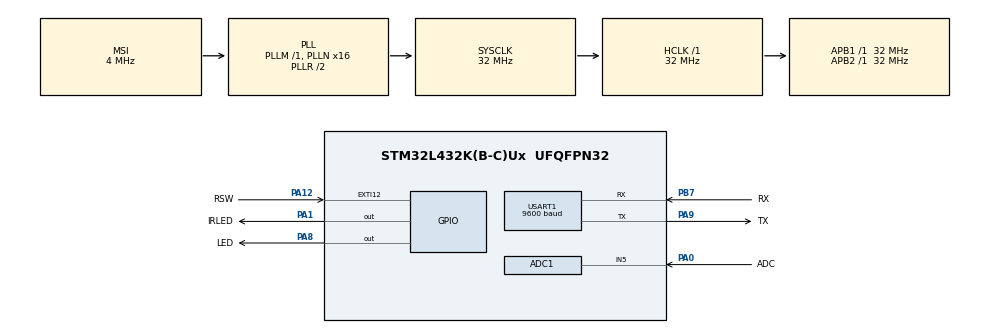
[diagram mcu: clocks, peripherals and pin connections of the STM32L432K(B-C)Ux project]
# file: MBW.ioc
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ADC1.Channel-0\#ChannelRegularConversion=ADC_CHANNEL_5
ADC1.ClockPrescaler=ADC_CLOCK_ASYNC_DIV32
ADC1.ContinuousConvMode=DISABLE
ADC1.ExternalTrigConv=ADC_SOFTWARE_START
ADC1.NbrOfConversionFlag=1
ADC1.OffsetNumber-0\#ChannelRegularConversion=ADC_OFFSET_NONE
ADC1.Rank-0\#ChannelRegularConversion=1
ADC1.Resolution=ADC_RESOLUTION_8B
ADC1.SamplingTime-0\#ChannelRegularConversion=ADC_SAMPLETIME_2CYCLES_5
ADC1.master=1
Mcu.Family=STM32L4
Mcu.Name=STM32L432K(B-C)Ux
Mcu.Package=UFQFPN32
NVIC.EXTI15_10_IRQn=true\:0\:0\:true\:false\:true\:true\:true\:true
NVIC.PriorityGroup=NVIC_PRIORITYGROUP_4
PA0.GPIO_Label=ADC
PA0.Signal=ADCx_IN5
PA1.GPIO_Label=IRLED
PA1.GPIO_PuPd=GPIO_PULLUP
PA1.PinState=GPIO_PIN_RESET
PA1.Signal=GPIO_Output
PA12.GPIO_Label=RSW
PA12.GPIO_PuPd=GPIO_PULLUP
PA12.Signal=GPXTI12
PA8.GPIO_Label=LED
PA8.GPIO_PuPd=GPIO_PULLUP
PA8.Signal=GPIO_Output
PA9.GPIO_Label=TX
PA9.Mode=Asynchronous
PA9.Signal=USART1_TX
PB7.GPIO_Label=RX
PB7.Mode=Asynchronous
PB7.Signal=USART1_RX
ProjectManager.HeapSize=0x200
ProjectManager.StackSize=0x400
ProjectManager.TargetToolchain=STM32CubeIDE
RCC.ADCFreq_Value=32000000
RCC.AHBFreq_Value=32000000
RCC.APB1Freq_Value=32000000
RCC.APB1TimFreq_Value=32000000
RCC.APB2Freq_Value=32000000
RCC.APB2TimFreq_Value=32000000
RCC.CortexFreq_Value=32000000
RCC.HCLKFreq_Value=32000000
RCC.HSE_VALUE=8000000
RCC.HSI16_VALUE=16000000
RCC.HSI48_VALUE=48000000
RCC.HSI_VALUE=16000000
RCC.LSE_VALUE=32768
RCC.MSI_VALUE=4000000
RCC.PLLMUL=RCC_PLLMUL_4
RCC.PLLN=16
RCC.PLLSAI1N=16
RCC.SYSCLKFreq_VALUE=32000000
RCC.SYSCLKSource=RCC_SYSCLKSOURCE_PLLCLK
RCC.USBFreq_Value=32000000
RCC.VCOOutputFreq_Value=64000000
SH.ADCx_IN5.0=ADC1_IN5,IN5-Single-Ended
USART1.BaudRate=9600
USART1.VirtualMode-Asynchronous=VM_ASYNC
board=NUCLEO-L432KC

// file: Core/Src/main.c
/* USER CODE BEGIN Header */
/**
  ******************************************************************************
  * @file           : main.c
  * @brief          : Main program body
  ******************************************************************************
  * @attention
  *
  * Copyright (c) 2023 STMicroelectronics.
  * All rights reserved.
  *
  * This software is licensed under terms that can be found in the LICENSE file
  * in the root directory of this software component.
  * If no LICENSE file comes with this software, it is provided AS-IS.
  *
  ******************************************************************************
  */
/* USER CODE END Header */
#include "main.h"

ADC_HandleTypeDef hadc1;

UART_HandleTypeDef huart1;

/* USER CODE BEGIN PV */

volatile 	uint16_t 	adc_val = 0;
			uint32_t 	start_tick;
volatile 	uint16_t 	adc_ref = 0;
			uint8_t		tflag = 0;
volatile 	uint8_t 	status_flag = 0;
volatile 	uint8_t 	Processflag = 0;

//Messages
uint8_t message5[] = "AT+LOWPOWER";
uint8_t message4[] = "AT+MSG=\"PeekaBoo!!!\"";
uint8_t message3[] = "AT+MSG=\"You got mail!\"";
uint8_t message2[] = "AT+JOIN";
uint8_t message1[] = "A";
uint8_t tx_buffer[128];
uint8_t tx_flag = 0;

/* USER CODE END PV */

void SystemClock_Config(void);
static void MX_GPIO_Init(void);
static void MX_ADC1_Init(void);
static void MX_USART1_UART_Init(void);
/* USER CODE BEGIN PFP */
void ProcessInterrupt();

/* USER CODE END PFP */

int main(void)
{

  /* MCU Configuration--------------------------------------------------------*/

  /* Reset of all peripherals, Initializes the Flash interface and the Systick. */
   HAL_Init();

  /* Configure the system clock */
  SystemClock_Config();

  /* Initialize all configured peripherals */
  MX_GPIO_Init();
  MX_ADC1_Init();
  MX_USART1_UART_Init();

  /* Infinite loop */
  /* USER CODE BEGIN WHILE */
  while (1)
  {

	 HAL_UART_Transmit(&huart1, message5, sizeof(message5) - 1, HAL_MAX_DELAY);
	 HAL_SuspendTick(); // Suspending timer interrupt to not wake mcu from sleepmode
	 HAL_PWR_EnterSLEEPMode(PWR_MAINREGULATOR_ON, PWR_SLEEPENTRY_WFI);

	 if (Processflag){
 		 ProcessInterrupt();
		 HAL_UART_Transmit(&huart1, message2, sizeof(message2) - 1, HAL_MAX_DELAY); //Join TTN
		 HAL_Delay(9000);
		 	 if (status_flag == 1){
		 		 HAL_UART_Transmit(&huart1, message3, sizeof(message3) - 1, HAL_MAX_DELAY);
		 	 }else{
		 		 HAL_UART_Transmit(&huart1, message4, sizeof(message4) - 1, HAL_MAX_DELAY);
		 	 }
		 	HAL_Delay(100);
		 status_flag=0;
		 Processflag=0;
	 }

    /* USER CODE END WHILE */

  }
}

void SystemClock_Config(void)
{
  RCC_OscInitTypeDef RCC_OscInitStruct = {0};
  RCC_ClkInitTypeDef RCC_ClkInitStruct = {0};

  /** Configure the main internal regulator output voltage
  */
  if (HAL_PWREx_ControlVoltageScaling(PWR_REGULATOR_VOLTAGE_SCALE1) != HAL_OK)
  {
    Error_Handler();
  }

  /** Initializes the RCC Oscillators according to the specified parameters
  * in the RCC_OscInitTypeDef structure.
  */
  RCC_OscInitStruct.OscillatorType = RCC_OSCILLATORTYPE_MSI;
  RCC_OscInitStruct.MSIState = RCC_MSI_ON;
  RCC_OscInitStruct.MSICalibrationValue = 0;
  RCC_OscInitStruct.MSIClockRange = RCC_MSIRANGE_6;
  RCC_OscInitStruct.PLL.PLLState = RCC_PLL_ON;
  RCC_OscInitStruct.PLL.PLLSource = RCC_PLLSOURCE_MSI;
  RCC_OscInitStruct.PLL.PLLM = 1;
  RCC_OscInitStruct.PLL.PLLN = 16;
  RCC_OscInitStruct.PLL.PLLP = RCC_PLLP_DIV7;
  RCC_OscInitStruct.PLL.PLLQ = RCC_PLLQ_DIV2;
  RCC_OscInitStruct.PLL.PLLR = RCC_PLLR_DIV2;
  if (HAL_RCC_OscConfig(&RCC_OscInitStruct) != HAL_OK)
  {
    Error_Handler();
  }

  /** Initializes the CPU, AHB and APB buses clocks
  */
  RCC_ClkInitStruct.ClockType = RCC_CLOCKTYPE_HCLK|RCC_CLOCKTYPE_SYSCLK
                              |RCC_CLOCKTYPE_PCLK1|RCC_CLOCKTYPE_PCLK2;
  RCC_ClkInitStruct.SYSCLKSource = RCC_SYSCLKSOURCE_PLLCLK;
  RCC_ClkInitStruct.AHBCLKDivider = RCC_SYSCLK_DIV1;
  RCC_ClkInitStruct.APB1CLKDivider = RCC_HCLK_DIV1;
  RCC_ClkInitStruct.APB2CLKDivider = RCC_HCLK_DIV1;

  if (HAL_RCC_ClockConfig(&RCC_ClkInitStruct, FLASH_LATENCY_1) != HAL_OK)
  {
    Error_Handler();
  }
}

static void MX_ADC1_Init(void)
{

  ADC_ChannelConfTypeDef sConfig = {0};

  /** Common config
  */
  hadc1.Instance = ADC1;
  hadc1.Init.ClockPrescaler = ADC_CLOCK_ASYNC_DIV32;
  hadc1.Init.Resolution = ADC_RESOLUTION_8B;
  hadc1.Init.DataAlign = ADC_DATAALIGN_RIGHT;
  hadc1.Init.ScanConvMode = ADC_SCAN_DISABLE;
  hadc1.Init.EOCSelection = ADC_EOC_SINGLE_CONV;
  hadc1.Init.LowPowerAutoWait = DISABLE;
  hadc1.Init.ContinuousConvMode = DISABLE;
  hadc1.Init.NbrOfConversion = 1;
  hadc1.Init.DiscontinuousConvMode = DISABLE;
  hadc1.Init.ExternalTrigConv = ADC_SOFTWARE_START;
  hadc1.Init.ExternalTrigConvEdge = ADC_EXTERNALTRIGCONVEDGE_NONE;
  hadc1.Init.DMAContinuousRequests = DISABLE;
  hadc1.Init.Overrun = ADC_OVR_DATA_PRESERVED;
  hadc1.Init.OversamplingMode = DISABLE;
  if (HAL_ADC_Init(&hadc1) != HAL_OK)
  {
    Error_Handler();
  }

  /** Configure Regular Channel
  */
  sConfig.Channel = ADC_CHANNEL_5;
  sConfig.Rank = ADC_REGULAR_RANK_1;
  sConfig.SamplingTime = ADC_SAMPLETIME_2CYCLES_5;
  sConfig.SingleDiff = ADC_SINGLE_ENDED;
  sConfig.OffsetNumber = ADC_OFFSET_NONE;
  sConfig.Offset = 0;
  if (HAL_ADC_ConfigChannel(&hadc1, &sConfig) != HAL_OK)
  {
    Error_Handler();
  }

}

static void MX_USART1_UART_Init(void)
{

  huart1.Instance = USART1;
  huart1.Init.BaudRate = 9600;
  huart1.Init.WordLength = UART_WORDLENGTH_8B;
  huart1.Init.StopBits = UART_STOPBITS_1;
  huart1.Init.Parity = UART_PARITY_NONE;
  huart1.Init.Mode = UART_MODE_TX_RX;
  huart1.Init.HwFlowCtl = UART_HWCONTROL_NONE;
  huart1.Init.OverSampling = UART_OVERSAMPLING_16;
  huart1.Init.OneBitSampling = UART_ONE_BIT_SAMPLE_DISABLE;
  huart1.AdvancedInit.AdvFeatureInit = UART_ADVFEATURE_NO_INIT;
  if (HAL_UART_Init(&huart1) != HAL_OK)
  {
    Error_Handler();
  }

}

static void MX_GPIO_Init(void)
{
  GPIO_InitTypeDef GPIO_InitStruct = {0};

  /* GPIO Ports Clock Enable */
  __HAL_RCC_GPIOA_CLK_ENABLE();
  __HAL_RCC_GPIOB_CLK_ENABLE();

  /*Configure GPIO pin Output Level */
  HAL_GPIO_WritePin(GPIOA, IRLED_Pin|LED_Pin, GPIO_PIN_RESET);

  /*Configure GPIO pins : IRLED_Pin LED_Pin */
  GPIO_InitStruct.Pin = IRLED_Pin|LED_Pin;
  GPIO_InitStruct.Mode = GPIO_MODE_OUTPUT_PP;
  GPIO_InitStruct.Pull = GPIO_PULLUP;
  GPIO_InitStruct.Speed = GPIO_SPEED_FREQ_LOW;
  HAL_GPIO_Init(GPIOA, &GPIO_InitStruct);

  /*Configure GPIO pin : RSW_Pin */
  GPIO_InitStruct.Pin = RSW_Pin;
  GPIO_InitStruct.Mode = GPIO_MODE_IT_RISING;
  GPIO_InitStruct.Pull = GPIO_PULLUP;
  HAL_GPIO_Init(RSW_GPIO_Port, &GPIO_InitStruct);

  /* EXTI interrupt init*/
  HAL_NVIC_SetPriority(EXTI15_10_IRQn, 0, 0);
  HAL_NVIC_EnableIRQ(EXTI15_10_IRQn);

}

/* USER CODE BEGIN 4 */
void ProcessInterrupt(){

	HAL_ResumeTick(); 					//Resume tick after wake up
	//start_tick = HAL_GetTick(); 		//Get tick for delay
	HAL_UART_Transmit(&huart1, message1, sizeof(message1) - 1, HAL_MAX_DELAY); // Wake up E5
	HAL_GPIO_WritePin(LED_GPIO_Port, LED_Pin, GPIO_PIN_SET);
	HAL_GPIO_WritePin(IRLED_GPIO_Port, IRLED_Pin, GPIO_PIN_SET);

	//300ms to let daylight in
	//while ((HAL_GetTick() - start_tick) <= 300){

	//}

	while (HAL_GPIO_ReadPin(RSW_GPIO_Port, RSW_Pin) == GPIO_PIN_SET){

		// Get ADC Value
		if ((HAL_ADC_Start(&hadc1) == HAL_OK) && (tflag==0)){

				if (HAL_ADC_PollForConversion(&hadc1, 20) == HAL_OK){

				adc_ref = HAL_ADC_GetValue(&hadc1);
				adc_ref += THRESHOLD;
				tflag=1;
				HAL_ADC_Stop(&hadc1);
			}
		}

		if(HAL_ADC_Start(&hadc1) == HAL_OK){

			if (HAL_ADC_PollForConversion(&hadc1, 20) == HAL_OK){
				adc_val = HAL_ADC_GetValue(&hadc1);
				HAL_ADC_Stop(&hadc1);
			}
		}

		if (adc_val > adc_ref){
			status_flag = 1;
		}

	}

	HAL_GPIO_WritePin(LED_GPIO_Port, LED_Pin, GPIO_PIN_RESET);
	HAL_GPIO_WritePin(IRLED_GPIO_Port, IRLED_Pin, GPIO_PIN_RESET);

	tflag=0;

}

void HAL_GPIO_EXTI_Callback(uint16_t RSW){
	Processflag=1;
}

/* USER CODE END 4 */

void Error_Handler(void)
{
  __disable_irq();
  while (1)
  {
  }
}
